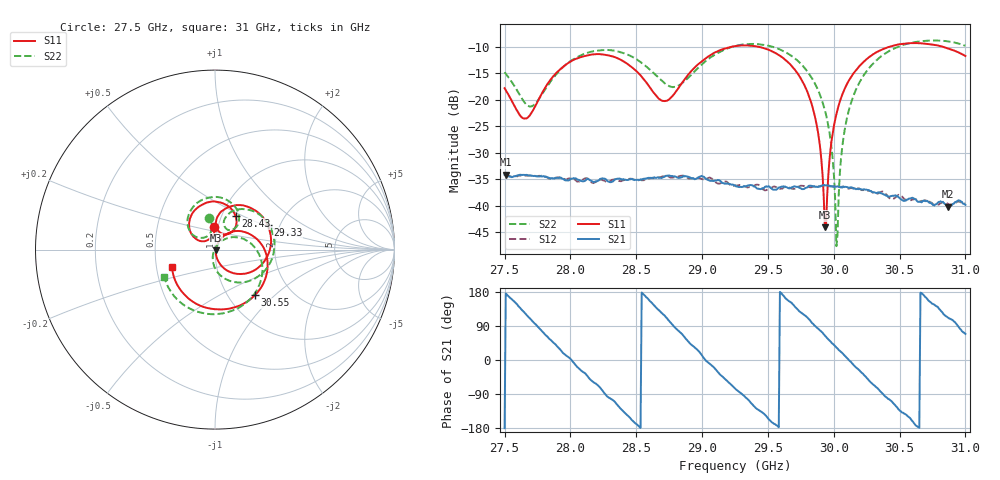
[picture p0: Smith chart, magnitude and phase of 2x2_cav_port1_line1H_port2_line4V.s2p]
!Created with skrf (http://scikit-rf.org).
# GHz S RI R 50.0
!freq ReS11 ImS11 ReS21 ImS21 ReS12 ImS12 ReS22 ImS22
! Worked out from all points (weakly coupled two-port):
!   401 points, 27.5 GHz to 31 GHz, reference 50 ohm
!   highest |S21| = -34.15 dB at 27.51 GHz (marker M1); lowest = -40.1 dB at 30.87 GHz (marker M2)
!   lowest |S11| = -44.0 dB at 29.93 GHz (marker M3), VSWR 1.01, Z = 50.5 - j0.423 ohm
!   |S11| at or under -10 dB: start of sweep to 29.23 GHz; 29.42 GHz to 30.43 GHz (1.012 GHz wide, 3.38 % of centre); 30.82 GHz to end of sweep
!   |S22| runs from -47.6 to -8.9 dB; largest |S21 - S12| = 0.0015
!   S11 on the Smith chart (normalised r, x): 27.5 GHz: 0.96, +0.25; 28.43 GHz: 1.16, +0.46; 29.33 GHz: 1.73, +0.53; 30.55 GHz: 1.32, -0.76; 31 GHz: 0.60, -0.12
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27.5  -0.0065 0.128  -0.0196 -9.54e-06  -0.0195 -0.000126  -0.035 0.1779
27.50875  -0.00557 0.1222  -0.0196 0.00142  -0.0195 0.00125  -0.0312 0.1726
27.70125  -0.0574 0.0469  -0.0054 0.0185  -0.00526 0.0184  -0.0466 0.0726
28.08625  -0.0976 0.2332  0.0149 -0.00837  0.0154 -0.00777  -0.1269 0.2312
28.4275  0.1142 0.1872  -0.0142 -0.0102  -0.014 -0.0107  0.1061 0.245
28.6725  0.058 0.0835  -0.0121 0.0138  -0.0124 0.0137  0.1082 0.1173
28.8125  0.007 0.1244  0.00331 0.0181  0.0029 0.0184  0.0585 0.1204
29.25  0.2489 0.1988  0.00408 -0.015  0.00447 -0.0149  0.2601 0.1859
29.32875  0.2933 0.1375  -0.00221 -0.015  -0.00266 -0.0149  0.3078 0.1255
29.6525  0.1836 -0.1302  -0.0135 0.00571  -0.0139 0.00591  0.2153 -0.1646
29.83625  0.0293 -0.0824  -0.00196 0.0152  -0.00221 0.0149  0.0407 -0.1523
29.88875  0.00874 -0.0409  0.00239 0.015  0.00259 0.015  0.00713 -0.1164
29.9325  0.00467 -0.00419  0.00673 0.0141  0.00656 0.014  -0.00879 -0.079
29.97625  0.014 0.0318  0.0101 0.0114  0.0101 0.0116  -0.0125 -0.0395
30.01125  0.0306 0.0574  0.0122 0.00902  0.0122 0.00919  -0.00626 -0.00918
30.02875  0.0413 0.069  0.0132 0.00768  0.0132 0.00767  -0.000608 0.00529
30.0725  0.0739 0.0918  0.0146 0.00402  0.0147 0.00384  0.0228 0.036
30.13375  0.128 0.1039  0.0149 -0.00162  0.0146 -0.00134  0.0703 0.0642
30.4225  0.2905 -0.1198  -0.00298 -0.0118  -0.00376 -0.0112  0.2645 -0.1127
30.545  0.2225 -0.2539  -0.00897 -0.00673  -0.00955 -0.00627  0.2142 -0.2541
30.86875  -0.1686 -0.2523  -0.0036 0.00916  -0.00372 0.00973  -0.1801 -0.3044
31  -0.2391 -0.0949  0.00366 0.00951  0.00337 0.0101  -0.2816 -0.1554
